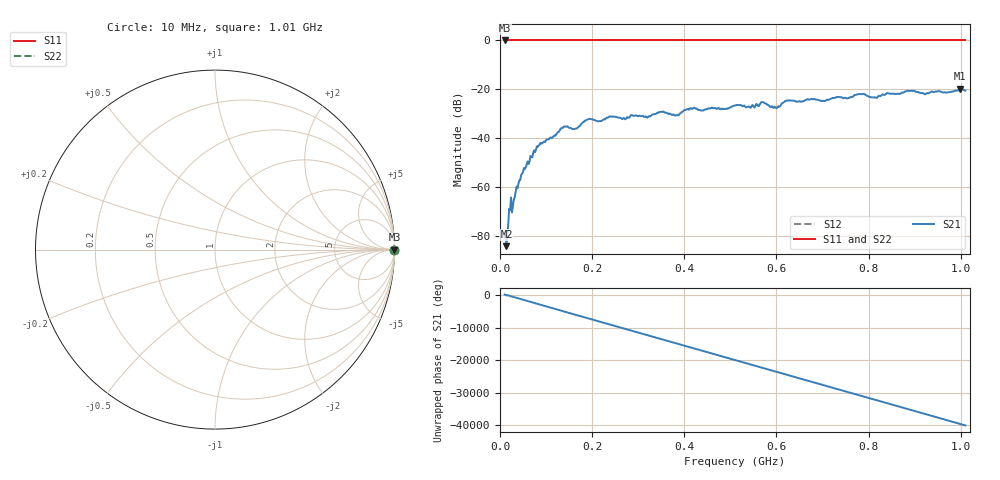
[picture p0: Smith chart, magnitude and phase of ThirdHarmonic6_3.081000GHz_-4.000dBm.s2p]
! 8/17/2025 9:01:58 AM
! C:\ANRITSUVNA\TEMP\TEMP.S2P
! CHANNEL.1
! TR.MEASUREMENT
! RAW.DATA
! RF.CORRECTION.OFF
! AVERAGING.OFF
! IF.BANDWIDTH: 5KHZ
! SWEEPTYPE:  FREQ.SWEEP(Linear)
! Reference Plane Port Info
! PORT:  PORT1  PORT2
! DISTANCE:  0  m  0  m
! TIME:  0  s  0  s
! PHASE.OFFSET:  0  deg.  0  deg.
! LOSS:  0  dB  0  dB
! REF.LOSS:  0  dB  0  dB
! REF.FREQ:  0  Hz  0  Hz
! Power Info
! POWER:  -20  dBm  -20  dBm
! EFF.POWER:  -20  dBm  -20  dBm
! SOURCE.ATTEN:  0  dB  0  dB
! TEST.ATTEN:  0  dB  0  dB
# GHZ S RI R 50.0
! FREQ.GHZ  S11RE  S11IM  S21RE  S21IM  S12RE  S12IM  S22RE  S22IM
!; PortSelection: Port_12
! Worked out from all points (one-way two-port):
!   501 points, 10 MHz to 1.01 GHz, reference 50 ohm
!   highest |S21| = -19.69 dB at 998 MHz (marker M1); lowest = -84.0 dB at 14 MHz (marker M2)
!   lowest |S11| = 0.0 dB at 10 MHz (marker M3)
!   |S11| at or under -10 dB: nowhere
!   |S22| runs from 0.0 to 0.0 dB; largest |S21 - S12| = 1.1
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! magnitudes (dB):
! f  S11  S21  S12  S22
! 10 MHz  0.0  -80.3  0.0  0.0
! 14 MHz  0.0  -84.0  0.0  0.0
! 22 MHz  0.0  -69.4  0.0  0.0
! 38 MHz  0.0  -60.4  0.0  0.0
! 50 MHz  0.0  -53.7  0.0  0.0
! 76 MHz  0.0  -45.6  0.0  0.0
! 136 MHz  0.0  -35.7  0.0  0.0
! 162 MHz  0.0  -36.2  0.0  0.0
! 178 MHz  0.0  -33.7  0.0  0.0
! 192 MHz  0.0  -32.2  0.0  0.0
! 322 MHz  0.0  -31.1  0.0  0.0
! 344 MHz  0.0  -29.5  0.0  0.0
! 384 MHz  0.0  -30.5  0.0  0.0
! 416 MHz  0.0  -27.9  0.0  0.0
! 510 MHz  0.0  -26.5  0.0  0.0
! 570 MHz  0.0  -25.2  0.0  0.0
! 598 MHz  0.0  -27.3  0.0  0.0
! 624 MHz  0.0  -24.6  0.0  0.0
! 678 MHz  0.0  -24.0  0.0  0.0
! 844 MHz  0.0  -21.7  0.0  0.0
! 998 MHz  0.0  -19.7  0.0  0.0
! 1.01 GHz  0.0  -20.5  0.0  0.0
